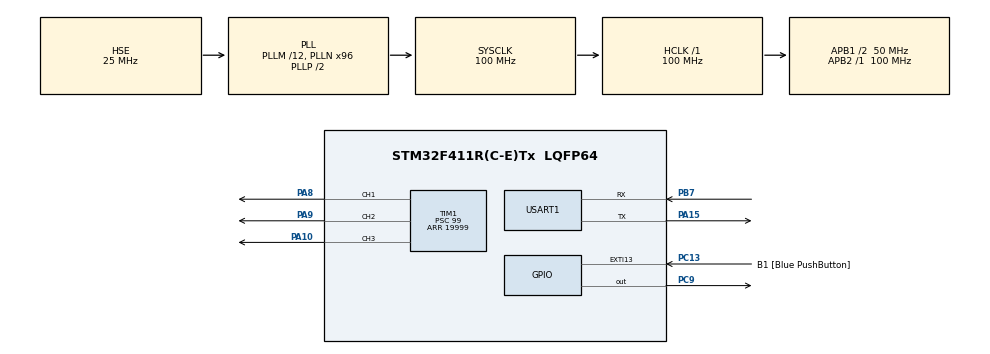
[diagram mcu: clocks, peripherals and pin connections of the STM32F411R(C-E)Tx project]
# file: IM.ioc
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Dma.Request0=USART1_RX
Dma.USART1_RX.0.Direction=DMA_PERIPH_TO_MEMORY
Dma.USART1_RX.0.FIFOMode=DMA_FIFOMODE_DISABLE
Dma.USART1_RX.0.Instance=DMA2_Stream2
Dma.USART1_RX.0.MemDataAlignment=DMA_MDATAALIGN_BYTE
Dma.USART1_RX.0.MemInc=DMA_MINC_ENABLE
Dma.USART1_RX.0.Mode=DMA_CIRCULAR
Dma.USART1_RX.0.PeriphDataAlignment=DMA_PDATAALIGN_BYTE
Dma.USART1_RX.0.PeriphInc=DMA_PINC_DISABLE
Dma.USART1_RX.0.Priority=DMA_PRIORITY_LOW
Mcu.Family=STM32F4
Mcu.Name=STM32F411R(C-E)Tx
Mcu.Package=LQFP64
NVIC.DMA2_Stream2_IRQn=true\:0\:1\:false\:false\:true\:false\:true\:true
NVIC.EXTI15_10_IRQn=true\:0\:0\:false\:false\:true\:true\:true\:true
NVIC.PriorityGroup=NVIC_PRIORITYGROUP_0
PA10.Signal=S_TIM1_CH3
PA13.GPIO_Label=TMS
PA13.Mode=Serial_Wire
PA13.Signal=SYS_JTMS-SWDIO
PA14.GPIO_Label=TCK
PA14.Mode=Serial_Wire
PA14.Signal=SYS_JTCK-SWCLK
PA15.Mode=Asynchronous
PA15.Signal=USART1_TX
PA8.Signal=S_TIM1_CH1
PA9.Signal=S_TIM1_CH2
PB3.GPIO_Label=SWO
PB3.Signal=SYS_JTDO-SWO
PB7.Mode=Asynchronous
PB7.Signal=USART1_RX
PC13-ANTI_TAMP.GPIO_Label=B1 [Blue PushButton]
PC13-ANTI_TAMP.GPIO_ModeDefaultEXTI=GPIO_MODE_IT_FALLING
PC13-ANTI_TAMP.Signal=GPXTI13
PC14-OSC32_IN.Mode=LSE-External-Oscillator
PC14-OSC32_IN.Signal=RCC_OSC32_IN
PC15-OSC32_OUT.Mode=LSE-External-Oscillator
PC15-OSC32_OUT.Signal=RCC_OSC32_OUT
PC9.Signal=GPIO_Output
PH0\ -\ OSC_IN.Mode=HSE-External-Oscillator
PH0\ -\ OSC_IN.Signal=RCC_OSC_IN
PH1\ -\ OSC_OUT.Mode=HSE-External-Oscillator
PH1\ -\ OSC_OUT.Signal=RCC_OSC_OUT
ProjectManager.HeapSize=0x200
ProjectManager.StackSize=0x400
ProjectManager.TargetToolchain=STM32CubeIDE
RCC.48MHZClocksFreq_Value=50000000
RCC.AHBFreq_Value=100000000
RCC.APB1CLKDivider=RCC_HCLK_DIV2
RCC.APB1Freq_Value=50000000
RCC.APB1TimFreq_Value=100000000
RCC.APB2Freq_Value=100000000
RCC.APB2TimFreq_Value=100000000
RCC.CortexFreq_Value=100000000
RCC.FLatency-AdvancedSettings=FLASH_LATENCY_3
RCC.HCLKFreq_Value=100000000
RCC.HSE_VALUE=25000000
RCC.HSI_VALUE=16000000
RCC.PLLM=12
RCC.PLLN=96
RCC.PLLSourceVirtual=RCC_PLLSOURCE_HSE
RCC.SYSCLKFreq_VALUE=100000000
RCC.SYSCLKSource=RCC_SYSCLKSOURCE_PLLCLK
RCC.VCOOutputFreq_Value=200000000
SH.S_TIM1_CH1.0=TIM1_CH1,PWM Generation1 CH1
SH.S_TIM1_CH2.0=TIM1_CH2,PWM Generation2 CH2
SH.S_TIM1_CH3.0=TIM1_CH3,PWM Generation3 CH3
TIM1.Channel-PWM\ Generation1\ CH1=TIM_CHANNEL_1
TIM1.Channel-PWM\ Generation2\ CH2=TIM_CHANNEL_2
TIM1.Channel-PWM\ Generation3\ CH3=TIM_CHANNEL_3
TIM1.Period=19999
TIM1.Prescaler=99
USART1.VirtualMode=VM_ASYNC
VP_TIM1_VS_ClockSourceINT.Mode=Internal
board=NUCLEO-F411RE

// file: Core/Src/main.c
/* USER CODE BEGIN Header */
/**
  ******************************************************************************
  * @file           : main.c
  * @brief          : Main program body
  ******************************************************************************
  * @attention
  *
  * Copyright (c) 2024 STMicroelectronics.
  * All rights reserved.
  *
  * This software is licensed under terms that can be found in the LICENSE file
  * in the root directory of this software component.
  * If no LICENSE file comes with this software, it is provided AS-IS.
  *
  ******************************************************************************
  */
/* USER CODE END Header */
#include "main.h"
#include "dma.h"
#include "tim.h"
#include "usart.h"
#include "gpio.h"

/* USER CODE BEGIN Includes */
#include "ibus.h"
/* USER CODE END Includes */

/* USER CODE BEGIN PTD */

typedef struct{
	uint16_t ibus_cmdCh1;	/* CH1 for Left motor */
	uint16_t ibus_cmdCh2;	/* CH2 for Right motor */
	uint16_t ibus_cmdCh3;	/* CH3 for Weapon motor */
	uint16_t ibus_cmdCh4;	/* CH4 for EMC */
}Ibus_dataFramedef;

/* USER CODE END PTD */

/* USER CODE BEGIN PD */
#define PERIOD		100			/* period 100 ms */
/* USER CODE END PD */

/* USER CODE BEGIN PV */

union Ibus_Union
{
	Ibus_dataFramedef receiveFrame;
	uint16_t ibus_data[IBUS_USER_CHANNELS];
}Ibus_DataBuffer;

/* USER CODE END PV */

void SystemClock_Config(void);
/* USER CODE BEGIN PFP */

void HAL_UART_RxCpltCallback(UART_HandleTypeDef *huart);

/* USER CODE END PFP */

int main(void)
{

  /* MCU Configuration--------------------------------------------------------*/

  /* Reset of all peripherals, Initializes the Flash interface and the Systick. */
  HAL_Init();

  /* Configure the system clock */
  SystemClock_Config();

  /* Initialize all configured peripherals */
  MX_GPIO_Init();
  MX_DMA_Init();
  MX_TIM1_Init();
  MX_USART1_UART_Init();
  /* USER CODE BEGIN 2 */

  ibus_init();

  uint16_t startTick;
  uint16_t leftM;
  uint16_t rightM;
  uint16_t weaponM;
  uint16_t EMC;

  HAL_TIM_PWM_Start(&htim1, TIM_CHANNEL_1 | TIM_CHANNEL_2 | TIM_CHANNEL_3);
  /* USER CODE END 2 */

  /* Infinite loop */
  /* USER CODE BEGIN WHILE */
  while (1)
  {
	  startTick = HAL_GetTick();

	  ibus_read(Ibus_DataBuffer.ibus_data);

	  leftM = Ibus_DataBuffer.receiveFrame.ibus_cmdCh1;
	  rightM = Ibus_DataBuffer.receiveFrame.ibus_cmdCh2;
	  weaponM = Ibus_DataBuffer.receiveFrame.ibus_cmdCh3;
	  EMC = Ibus_DataBuffer.receiveFrame.ibus_cmdCh4;

	  if (EMC)
	  {
		  HAL_GPIO_WritePin(GPIOC, GPIO_PIN_9, 0);
	  }else
	  {
		  TIM1->CCR1 = leftM;
		  TIM1->CCR2 = rightM;
		  TIM1->CCR3 = weaponM;
	  }

	  while (HAL_GetTick() - startTick < PERIOD);
    /* USER CODE END WHILE */

  }
}

void SystemClock_Config(void)
{
  RCC_OscInitTypeDef RCC_OscInitStruct = {0};
  RCC_ClkInitTypeDef RCC_ClkInitStruct = {0};

  /** Configure the main internal regulator output voltage
  */
  __HAL_RCC_PWR_CLK_ENABLE();
  __HAL_PWR_VOLTAGESCALING_CONFIG(PWR_REGULATOR_VOLTAGE_SCALE1);

  /** Initializes the RCC Oscillators according to the specified parameters
  * in the RCC_OscInitTypeDef structure.
  */
  RCC_OscInitStruct.OscillatorType = RCC_OSCILLATORTYPE_HSE;
  RCC_OscInitStruct.HSEState = RCC_HSE_ON;
  RCC_OscInitStruct.PLL.PLLState = RCC_PLL_ON;
  RCC_OscInitStruct.PLL.PLLSource = RCC_PLLSOURCE_HSE;
  RCC_OscInitStruct.PLL.PLLM = 12;
  RCC_OscInitStruct.PLL.PLLN = 96;
  RCC_OscInitStruct.PLL.PLLP = RCC_PLLP_DIV2;
  RCC_OscInitStruct.PLL.PLLQ = 4;
  if (HAL_RCC_OscConfig(&RCC_OscInitStruct) != HAL_OK)
  {
    Error_Handler();
  }

  /** Initializes the CPU, AHB and APB buses clocks
  */
  RCC_ClkInitStruct.ClockType = RCC_CLOCKTYPE_HCLK|RCC_CLOCKTYPE_SYSCLK
                              |RCC_CLOCKTYPE_PCLK1|RCC_CLOCKTYPE_PCLK2;
  RCC_ClkInitStruct.SYSCLKSource = RCC_SYSCLKSOURCE_PLLCLK;
  RCC_ClkInitStruct.AHBCLKDivider = RCC_SYSCLK_DIV1;
  RCC_ClkInitStruct.APB1CLKDivider = RCC_HCLK_DIV2;
  RCC_ClkInitStruct.APB2CLKDivider = RCC_HCLK_DIV1;

  if (HAL_RCC_ClockConfig(&RCC_ClkInitStruct, FLASH_LATENCY_3) != HAL_OK)
  {
    Error_Handler();
  }
}

/* USER CODE BEGIN 4 */

void HAL_UART_RxCpltCallback(UART_HandleTypeDef *huart)
{
	if(huart == IBUS_UART)
		ibus_reset_failsafe();
}

/* USER CODE END 4 */

void Error_Handler(void)
{
  __disable_irq();
  while (1)
  {
  }
}
